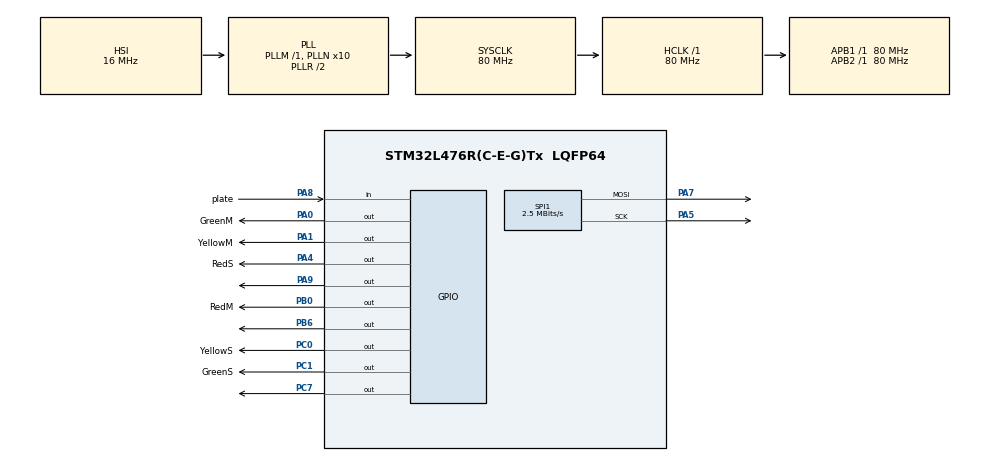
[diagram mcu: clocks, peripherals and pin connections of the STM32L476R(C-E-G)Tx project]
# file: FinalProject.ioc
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Mcu.Family=STM32L4
Mcu.Name=STM32L476R(C-E-G)Tx
Mcu.Package=LQFP64
NVIC.PriorityGroup=NVIC_PRIORITYGROUP_4
NVIC.TIM1_UP_TIM16_IRQn=true\:0\:0\:false\:false\:true\:true\:true\:true
PA0.GPIO_Label=GreenM
PA0.Signal=GPIO_Output
PA1.GPIO_Label=YellowM
PA1.Signal=GPIO_Output
PA13\ (JTMS-SWDIO).GPIO_Label=TMS
PA13\ (JTMS-SWDIO).Mode=Serial_Wire
PA13\ (JTMS-SWDIO).Signal=SYS_JTMS-SWDIO
PA14\ (JTCK-SWCLK).GPIO_Label=TCK
PA14\ (JTCK-SWCLK).Mode=Serial_Wire
PA14\ (JTCK-SWCLK).Signal=SYS_JTCK-SWCLK
PA4.GPIO_Label=RedS
PA4.Signal=GPIO_Output
PA5.Mode=TX_Only_Simplex_Unidirect_Master
PA5.Signal=SPI1_SCK
PA7.Mode=TX_Only_Simplex_Unidirect_Master
PA7.Signal=SPI1_MOSI
PA8.GPIO_Label=plate
PA8.GPIO_PuPd=GPIO_PULLUP
PA8.Signal=GPIO_Input
PA9.Signal=GPIO_Output
PB0.GPIO_Label=RedM
PB0.Signal=GPIO_Output
PB3\ (JTDO-TRACESWO).GPIO_Label=SWO
PB3\ (JTDO-TRACESWO).Signal=SYS_JTDO-SWO
PB6.Signal=GPIO_Output
PC0.GPIO_Label=YellowS
PC0.Signal=GPIO_Output
PC1.GPIO_Label=GreenS
PC1.Signal=GPIO_Output
PC14-OSC32_IN\ (PC14).Mode=LSE-External-Oscillator
PC14-OSC32_IN\ (PC14).Signal=RCC_OSC32_IN
PC15-OSC32_OUT\ (PC15).Mode=LSE-External-Oscillator
PC15-OSC32_OUT\ (PC15).Signal=RCC_OSC32_OUT
PC7.Signal=GPIO_Output
PH0-OSC_IN\ (PH0).Signal=RCC_OSC_IN
PH1-OSC_OUT\ (PH1).Signal=RCC_OSC_OUT
ProjectManager.HeapSize=0x200
ProjectManager.StackSize=0x400
ProjectManager.TargetToolchain=STM32CubeIDE
RCC.ADCFreq_Value=64000000
RCC.AHBFreq_Value=80000000
RCC.APB1Freq_Value=80000000
RCC.APB1TimFreq_Value=80000000
RCC.APB2Freq_Value=80000000
RCC.APB2TimFreq_Value=80000000
RCC.CortexFreq_Value=80000000
RCC.HCLKFreq_Value=80000000
RCC.HSE_VALUE=8000000
RCC.HSI_VALUE=16000000
RCC.MSI_VALUE=4000000
RCC.PLLN=10
RCC.PLLSourceVirtual=RCC_PLLSOURCE_HSI
RCC.PREFETCH_ENABLE=1
RCC.SYSCLKFreq_VALUE=80000000
RCC.SYSCLKSource=RCC_SYSCLKSOURCE_PLLCLK
RCC.USBFreq_Value=64000000
RCC.VCOOutputFreq_Value=160000000
SPI1.BaudRatePrescaler=SPI_BAUDRATEPRESCALER_32
SPI1.CalculateBaudRate=2.5 MBits/s
SPI1.DataSize=SPI_DATASIZE_8BIT
SPI1.Direction=SPI_DIRECTION_2LINES
SPI1.Mode=SPI_MODE_MASTER
SPI1.VirtualType=VM_MASTER
TIM16.Period=9999
TIM16.Prescaler=7999
VP_TIM16_VS_ClockSourceINT.Mode=Enable_Timer
board=NUCLEO-L476RG

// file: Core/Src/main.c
/* USER CODE BEGIN Header */
/**
  ******************************************************************************
  * @file           : main.c
  * @brief          : Main program body
  ******************************************************************************
  * @attention
  *
  * Copyright (c) 2025 STMicroelectronics.
  * All rights reserved.
  *
  * This software is licensed under terms that can be found in the LICENSE file
  * in the root directory of this software component.
  * If no LICENSE file comes with this software, it is provided AS-IS.
  *
  ******************************************************************************
  */
/* USER CODE END Header */
#include "main.h"

/* USER CODE BEGIN PM */
#define CE_PORT GPIOB // PB6 chip enable (aka slave select)
#define CE_PIN GPIO_PIN_6

#define DC_PORT GPIOC // PA0 data/control
#define DC_PIN GPIO_PIN_7

#define RESET_PORT GPIOA // PA1 reset
#define RESET_PIN GPIO_PIN_9

#define GLCD_WIDTH 84
#define GLCD_HEIGHT 48
#define NUM_BANKS 6
/* USER CODE END PM */

SPI_HandleTypeDef hspi1;

TIM_HandleTypeDef htim16;

/* USER CODE BEGIN PV */
int time;
const char font_table_other[][6] = {
		{0x00, 0x00, 0x00, 0x00, 0x00, 0x00}, // blank
		{0xFF, 0xFF, 0xFF, 0xFF, 0xFF, 0xFF}, // block
};
// number design 0-9
const char numbers[][6][6] = {
		{ // 0
				{0,1,1,1,0,0},
				{1,0,0,0,1,0},
				{1,0,0,0,1,0},
				{1,0,0,0,1,0},
				{1,0,0,0,1,0},
				{0,1,1,1,0,0}
		},
		{ // 1
				{0,0,1,0,0,0},
				{0,1,1,0,0,0},
				{0,0,1,0,0,0},
				{0,0,1,0,0,0},
				{0,0,1,0,0,0},
				{1,1,1,1,1,0}
		},
		{ // 2
				{0,1,1,1,0,0},
				{1,0,0,0,1,0},
				{0,0,0,1,0,0},
				{0,0,1,0,0,0},
				{0,1,0,0,0,0},
				{1,1,1,1,1,0},
		},
		{ // 3
				{0,1,1,1,0,0},
				{1,0,0,0,1,0},
				{0,0,0,0,1,0},
				{0,0,1,1,1,0},
				{1,0,0,0,1,0},
				{0,1,1,1,0,0},
		},
		{ // 4
				{0,0,0,1,0,0},
				{0,0,1,1,0,0},
				{0,1,0,1,0,0},
				{1,1,1,1,1,0},
				{0,0,0,1,0,0},
				{0,0,0,1,0,0},
		},
		{ // 5
				{1,1,1,1,1,0},
				{1,0,0,0,0,0},
				{1,1,1,1,0,0},
				{0,0,0,0,1,0},
				{1,0,0,0,1,0},
				{0,1,1,1,0,0},
		},
		{ // 6
				{0,1,1,1,0,0},
				{1,0,0,0,1,0},
				{1,0,0,0,0,0},
				{1,1,1,1,0,0},
				{1,0,0,0,1,0},
				{0,1,1,1,0,0},
		},
		{ // 7
				{1,1,1,1,1,0},
				{0,0,0,0,1,0},
				{0,0,0,1,0,0},
				{0,0,1,0,0,0},
				{0,1,0,0,0,0},
				{1,0,0,0,0,0},
		},
		{ // 8
				{0,1,1,1,0,0},
				{1,0,0,0,1,0},
				{0,1,1,1,0,0},
				{1,0,0,0,1,0},
				{1,0,0,0,1,0},
				{0,1,1,1,0,0},
		},
		{ // 9
				{0,1,1,1,1,0},
				{1,0,0,0,1,0},
				{1,0,0,0,1,0},
				{0,1,1,1,1,0},
				{0,0,0,0,1,0},
				{0,0,0,0,1,0},
		},

};
int ten = 1;
int one = 1;
int change = 0;
/* USER CODE END PV */

void SystemClock_Config(void);
static void MX_GPIO_Init(void);
static void MX_TIM16_Init(void);
static void MX_SPI1_Init(void);
/* USER CODE BEGIN PFP */
void StopLightState(char time);
void SPI_write(unsigned char data);
void GLCD_data_write(unsigned char data);
void GLCD_command_write(unsigned char data);
void GLCD_init(void);
void GLCD_setCursor(unsigned char x, unsigned char y);
void GLCD_clear(void);
void GLCD_putchar(int font_table_row);
void GLCD_putblock(int font_table_row);
void GLCD_writeNumberLeft(int num);
void GLCD_writeNumberRight(int num);
/* USER CODE END PFP */

int main(void)
{

  /* MCU Configuration--------------------------------------------------------*/

  /* Reset of all peripherals, Initializes the Flash interface and the Systick. */
  HAL_Init();

  /* Configure the system clock */
  SystemClock_Config();

  /* Initialize all configured peripherals */
  MX_GPIO_Init();
  MX_TIM16_Init();
  MX_SPI1_Init();
  /* USER CODE BEGIN 2 */
  GLCD_init(); // initialize the screen
  GLCD_clear(); // clear the screen
  HAL_TIM_Base_Start_IT(&htim16); // Start Timer 16

  	HAL_GPIO_WritePin(GreenM_GPIO_Port, GreenM_Pin, GPIO_PIN_SET);
	HAL_GPIO_WritePin(YellowM_GPIO_Port, YellowM_Pin, GPIO_PIN_RESET);
	HAL_GPIO_WritePin(RedM_GPIO_Port, RedM_Pin, GPIO_PIN_RESET);

	HAL_GPIO_WritePin(GreenS_GPIO_Port, GreenS_Pin, GPIO_PIN_RESET);
	HAL_GPIO_WritePin(YellowS_GPIO_Port, YellowS_Pin, GPIO_PIN_RESET);
	HAL_GPIO_WritePin(RedS_GPIO_Port, RedS_Pin, GPIO_PIN_SET);

  /* USER CODE END 2 */

  /* Infinite loop */
  while (1)
  {

  }
}

void SystemClock_Config(void)
{
  RCC_OscInitTypeDef RCC_OscInitStruct = {0};
  RCC_ClkInitTypeDef RCC_ClkInitStruct = {0};

  /** Configure the main internal regulator output voltage
  */
  if (HAL_PWREx_ControlVoltageScaling(PWR_REGULATOR_VOLTAGE_SCALE1) != HAL_OK)
  {
    Error_Handler();
  }

  /** Initializes the RCC Oscillators according to the specified parameters
  * in the RCC_OscInitTypeDef structure.
  */
  RCC_OscInitStruct.OscillatorType = RCC_OSCILLATORTYPE_HSI;
  RCC_OscInitStruct.HSIState = RCC_HSI_ON;
  RCC_OscInitStruct.HSICalibrationValue = RCC_HSICALIBRATION_DEFAULT;
  RCC_OscInitStruct.PLL.PLLState = RCC_PLL_ON;
  RCC_OscInitStruct.PLL.PLLSource = RCC_PLLSOURCE_HSI;
  RCC_OscInitStruct.PLL.PLLM = 1;
  RCC_OscInitStruct.PLL.PLLN = 10;
  RCC_OscInitStruct.PLL.PLLP = RCC_PLLP_DIV7;
  RCC_OscInitStruct.PLL.PLLQ = RCC_PLLQ_DIV2;
  RCC_OscInitStruct.PLL.PLLR = RCC_PLLR_DIV2;
  if (HAL_RCC_OscConfig(&RCC_OscInitStruct) != HAL_OK)
  {
    Error_Handler();
  }

  /** Initializes the CPU, AHB and APB buses clocks
  */
  RCC_ClkInitStruct.ClockType = RCC_CLOCKTYPE_HCLK|RCC_CLOCKTYPE_SYSCLK
                              |RCC_CLOCKTYPE_PCLK1|RCC_CLOCKTYPE_PCLK2;
  RCC_ClkInitStruct.SYSCLKSource = RCC_SYSCLKSOURCE_PLLCLK;
  RCC_ClkInitStruct.AHBCLKDivider = RCC_SYSCLK_DIV1;
  RCC_ClkInitStruct.APB1CLKDivider = RCC_HCLK_DIV1;
  RCC_ClkInitStruct.APB2CLKDivider = RCC_HCLK_DIV1;

  if (HAL_RCC_ClockConfig(&RCC_ClkInitStruct, FLASH_LATENCY_4) != HAL_OK)
  {
    Error_Handler();
  }
}

static void MX_SPI1_Init(void)
{

  /* SPI1 parameter configuration*/
  hspi1.Instance = SPI1;
  hspi1.Init.Mode = SPI_MODE_MASTER;
  hspi1.Init.Direction = SPI_DIRECTION_2LINES;
  hspi1.Init.DataSize = SPI_DATASIZE_8BIT;
  hspi1.Init.CLKPolarity = SPI_POLARITY_LOW;
  hspi1.Init.CLKPhase = SPI_PHASE_1EDGE;
  hspi1.Init.NSS = SPI_NSS_SOFT;
  hspi1.Init.BaudRatePrescaler = SPI_BAUDRATEPRESCALER_32;
  hspi1.Init.FirstBit = SPI_FIRSTBIT_MSB;
  hspi1.Init.TIMode = SPI_TIMODE_DISABLE;
  hspi1.Init.CRCCalculation = SPI_CRCCALCULATION_DISABLE;
  hspi1.Init.CRCPolynomial = 7;
  hspi1.Init.CRCLength = SPI_CRC_LENGTH_DATASIZE;
  hspi1.Init.NSSPMode = SPI_NSS_PULSE_ENABLE;
  if (HAL_SPI_Init(&hspi1) != HAL_OK)
  {
    Error_Handler();
  }

}

static void MX_TIM16_Init(void)
{

  htim16.Instance = TIM16;
  htim16.Init.Prescaler = 7999;
  htim16.Init.CounterMode = TIM_COUNTERMODE_UP;
  htim16.Init.Period = 9999;
  htim16.Init.ClockDivision = TIM_CLOCKDIVISION_DIV1;
  htim16.Init.RepetitionCounter = 0;
  htim16.Init.AutoReloadPreload = TIM_AUTORELOAD_PRELOAD_DISABLE;
  if (HAL_TIM_Base_Init(&htim16) != HAL_OK)
  {
    Error_Handler();
  }

}

static void MX_GPIO_Init(void)
{
  GPIO_InitTypeDef GPIO_InitStruct = {0};

  /* GPIO Ports Clock Enable */
  __HAL_RCC_GPIOC_CLK_ENABLE();
  __HAL_RCC_GPIOH_CLK_ENABLE();
  __HAL_RCC_GPIOA_CLK_ENABLE();
  __HAL_RCC_GPIOB_CLK_ENABLE();

  /*Configure GPIO pin Output Level */
  HAL_GPIO_WritePin(GPIOC, YellowS_Pin|GreenS_Pin|GPIO_PIN_7, GPIO_PIN_RESET);

  /*Configure GPIO pin Output Level */
  HAL_GPIO_WritePin(GPIOA, GreenM_Pin|YellowM_Pin|RedS_Pin|GPIO_PIN_9, GPIO_PIN_RESET);

  /*Configure GPIO pin Output Level */
  HAL_GPIO_WritePin(GPIOB, RedM_Pin|GPIO_PIN_6, GPIO_PIN_RESET);

  /*Configure GPIO pins : YellowS_Pin GreenS_Pin PC7 */
  GPIO_InitStruct.Pin = YellowS_Pin|GreenS_Pin|GPIO_PIN_7;
  GPIO_InitStruct.Mode = GPIO_MODE_OUTPUT_PP;
  GPIO_InitStruct.Pull = GPIO_NOPULL;
  GPIO_InitStruct.Speed = GPIO_SPEED_FREQ_LOW;
  HAL_GPIO_Init(GPIOC, &GPIO_InitStruct);

  /*Configure GPIO pins : GreenM_Pin YellowM_Pin RedS_Pin PA9 */
  GPIO_InitStruct.Pin = GreenM_Pin|YellowM_Pin|RedS_Pin|GPIO_PIN_9;
  GPIO_InitStruct.Mode = GPIO_MODE_OUTPUT_PP;
  GPIO_InitStruct.Pull = GPIO_NOPULL;
  GPIO_InitStruct.Speed = GPIO_SPEED_FREQ_LOW;
  HAL_GPIO_Init(GPIOA, &GPIO_InitStruct);

  /*Configure GPIO pins : RedM_Pin PB6 */
  GPIO_InitStruct.Pin = RedM_Pin|GPIO_PIN_6;
  GPIO_InitStruct.Mode = GPIO_MODE_OUTPUT_PP;
  GPIO_InitStruct.Pull = GPIO_NOPULL;
  GPIO_InitStruct.Speed = GPIO_SPEED_FREQ_LOW;
  HAL_GPIO_Init(GPIOB, &GPIO_InitStruct);

  /*Configure GPIO pin : plate_Pin */
  GPIO_InitStruct.Pin = plate_Pin;
  GPIO_InitStruct.Mode = GPIO_MODE_INPUT;
  GPIO_InitStruct.Pull = GPIO_PULLUP;
  HAL_GPIO_Init(plate_GPIO_Port, &GPIO_InitStruct);

}

/* USER CODE BEGIN 4 */
// interrupt for the timer
void HAL_TIM_PeriodElapsedCallback(TIM_HandleTypeDef *htim){
	if (htim == &htim16){
		// checks it one of the buttons has been pressed
		if (time > 5 & HAL_GPIO_ReadPin(GPIOA, plate_Pin) == 0 & change == 0){
			time = 0;
			change = 1;
		}
		// Starts the to cycle the lights after one of the buttons has been pressed
		if (time > 21 & change == 1){
			time = 0;
			change = 0;
			StopLightState(0);
		}
	}
	// Progresses the number on the timer.
	if (change == 1){
		StopLightState(time);

		GLCD_writeNumberLeft(ten);
		GLCD_writeNumberRight(one);
		if (ten == 0 & one == 0){
		}
		else if (one == 0){
			  ten = ten -1;
			  one = 9;
		}
		else {
			  one = one - 1;
		}
	}
	time = time + 1;
}

void SPI_write(unsigned char data){

	// Chip Enable (low is asserted)
	HAL_GPIO_WritePin(CE_PORT, CE_PIN, GPIO_PIN_RESET);

	// Send data over SPI1
	HAL_SPI_Transmit(&hspi1, (uint8_t*) &data, 1, HAL_MAX_DELAY);

	// Chip Disable
	HAL_GPIO_WritePin(CE_PORT, CE_PIN, GPIO_PIN_SET);
}

void GLCD_data_write(unsigned char data){

	// Switch to "data" mode (D/C pin high)
	HAL_GPIO_WritePin(DC_PORT, DC_PIN, GPIO_PIN_SET);

	// Send data over SPI
	SPI_write(data);

}

void GLCD_command_write(unsigned char data){

	// Switch to "command" mode (D/C pin low)
	HAL_GPIO_WritePin(DC_PORT, DC_PIN, GPIO_PIN_RESET);

	// Send data over SPI
	SPI_write(data);
}

void GLCD_init(void){

	// Keep CE high when not transmitting
	HAL_GPIO_WritePin(CE_PORT, CE_PIN, GPIO_PIN_SET);

	// Reset the screen (low pulse - down & up)
	HAL_GPIO_WritePin(RESET_PORT, RESET_PIN, GPIO_PIN_RESET);
	HAL_GPIO_WritePin(RESET_PORT, RESET_PIN, GPIO_PIN_SET);

	// Configure the screen (according to the datasheet)
	GLCD_command_write(0x21); // enter extended command mode
	GLCD_command_write(0xA0); // set LCD Vop for contrast (this may be adjusted)
	GLCD_command_write(0x04); // set temp coefficient
	GLCD_command_write(0x11); // set LCD bias mode (this may be adjusted)
	GLCD_command_write(0x20); // return to normal command mode
	GLCD_command_write(0x0C); // set display mode normal
}
//  Sets the location of the cursor to a given x and y coordinate
void GLCD_setCursor(unsigned char x, unsigned char y){

	GLCD_command_write(0x80 | x); // column
	GLCD_command_write(0x40 | y); // bank
}
//  Sets all of the pixels on the screen to off clearing the screen.
void GLCD_clear(void){

	int i;
	for(i = 0; i < (GLCD_WIDTH * NUM_BANKS); i++){
		GLCD_data_write(0x00); // write zeros
	}
	GLCD_setCursor(0,0); // return cursor to top left
}
// fills an entire bank or leaves it empty.
void GLCD_putblock(int font_table_row){
	int i;
	for (i=0; i<6; i++){
		GLCD_data_write(font_table_other[font_table_row][i]);
	}
}
// Writes to the left of the screen starting at coordinates 0,0
void GLCD_writeNumberLeft(int num){
	int i;
	int i2;

	for (i=0; i<6; i++){
		GLCD_setCursor(0,(9*i)); // keeps the cursor on the left side of the screen
		for (i2=0; i2<6; i2++){

			// determines whether to fill bank with a block or a blank
			if ((numbers[num][i][i2]) == 1){
				GLCD_putblock(1); // fills bank with a block
			}
			else {
				GLCD_putblock(0); // fills bank with a blank
			}
		}
	}
}
// Whites to the Right of the creen starting at coordinates 36, 0
void GLCD_writeNumberRight(int num){
	int i;
	int i2;

	for (i=0; i<6; i++){
		GLCD_setCursor(36,(9*i)); // keeps the cursor on the right side of the screen
		for (i2=0; i2<6; i2++){

			// determines whether to fill bank with a block or a blank
			if ((numbers[num][i][i2]) == 1){
				GLCD_putblock(1); // fills bank with a block
			}
			else {
				GLCD_putblock(0); // fills bank with a blank
			}
		}
	}
}
// State machine for the stop light changes.
void StopLightState(char time){
	switch (time){

	case 0x0: // Main on green, Side on red
		HAL_GPIO_WritePin(GreenM_GPIO_Port, GreenM_Pin, GPIO_PIN_SET);
		HAL_GPIO_WritePin(YellowM_GPIO_Port, YellowM_Pin, GPIO_PIN_RESET);
		HAL_GPIO_WritePin(RedM_GPIO_Port, RedM_Pin, GPIO_PIN_RESET);

		HAL_GPIO_WritePin(GreenS_GPIO_Port, GreenS_Pin, GPIO_PIN_RESET);
		HAL_GPIO_WritePin(YellowS_GPIO_Port, YellowS_Pin, GPIO_PIN_RESET);
		HAL_GPIO_WritePin(RedS_GPIO_Port, RedS_Pin, GPIO_PIN_SET);
		ten = 1;
		one = 1;
		break;

	case 0x7: // Main on yellow, Side on red
		HAL_GPIO_WritePin(GreenM_GPIO_Port, GreenM_Pin, GPIO_PIN_RESET);
		HAL_GPIO_WritePin(YellowM_GPIO_Port, YellowM_Pin, GPIO_PIN_SET);
		HAL_GPIO_WritePin(RedM_GPIO_Port, RedM_Pin, GPIO_PIN_RESET);

		HAL_GPIO_WritePin(GreenS_GPIO_Port, GreenS_Pin, GPIO_PIN_RESET);
		HAL_GPIO_WritePin(YellowS_GPIO_Port, YellowS_Pin, GPIO_PIN_RESET);
		HAL_GPIO_WritePin(RedS_GPIO_Port, RedS_Pin, GPIO_PIN_SET);
		break;

	case 0x0A: // Main on red, Side on red
		HAL_GPIO_WritePin(GreenM_GPIO_Port, GreenM_Pin, GPIO_PIN_RESET);
		HAL_GPIO_WritePin(YellowM_GPIO_Port, YellowM_Pin, GPIO_PIN_RESET);
		HAL_GPIO_WritePin(RedM_GPIO_Port, RedM_Pin, GPIO_PIN_SET);

		HAL_GPIO_WritePin(GreenS_GPIO_Port, GreenS_Pin, GPIO_PIN_RESET);
		HAL_GPIO_WritePin(YellowS_GPIO_Port, YellowS_Pin, GPIO_PIN_RESET);
		HAL_GPIO_WritePin(RedS_GPIO_Port, RedS_Pin, GPIO_PIN_SET);
		break;

	case 0x0B: // Main on red, Side on green
		HAL_GPIO_WritePin(GreenM_GPIO_Port, GreenM_Pin, GPIO_PIN_RESET);
		HAL_GPIO_WritePin(YellowM_GPIO_Port, YellowM_Pin, GPIO_PIN_RESET);
		HAL_GPIO_WritePin(RedM_GPIO_Port, RedM_Pin, GPIO_PIN_SET);

		HAL_GPIO_WritePin(GreenS_GPIO_Port, GreenS_Pin, GPIO_PIN_SET);
		HAL_GPIO_WritePin(YellowS_GPIO_Port, YellowS_Pin, GPIO_PIN_RESET);
		HAL_GPIO_WritePin(RedS_GPIO_Port, RedS_Pin, GPIO_PIN_RESET);
		break;

	case 0x12: // Main on red, Side on yellow
		HAL_GPIO_WritePin(GreenM_GPIO_Port, GreenM_Pin, GPIO_PIN_RESET);
		HAL_GPIO_WritePin(YellowM_GPIO_Port, YellowM_Pin, GPIO_PIN_RESET);
		HAL_GPIO_WritePin(RedM_GPIO_Port, RedM_Pin, GPIO_PIN_SET);

		HAL_GPIO_WritePin(GreenS_GPIO_Port, GreenS_Pin, GPIO_PIN_RESET);
		HAL_GPIO_WritePin(YellowS_GPIO_Port, YellowS_Pin, GPIO_PIN_SET);
		HAL_GPIO_WritePin(RedS_GPIO_Port, RedS_Pin, GPIO_PIN_RESET);
		break;

	case 0x15: // Main on red, Side on red
		HAL_GPIO_WritePin(GreenM_GPIO_Port, GreenM_Pin, GPIO_PIN_RESET);
		HAL_GPIO_WritePin(YellowM_GPIO_Port, YellowM_Pin, GPIO_PIN_RESET);
		HAL_GPIO_WritePin(RedM_GPIO_Port, RedM_Pin, GPIO_PIN_SET);

		HAL_GPIO_WritePin(GreenS_GPIO_Port, GreenS_Pin, GPIO_PIN_RESET);
		HAL_GPIO_WritePin(YellowS_GPIO_Port, YellowS_Pin, GPIO_PIN_RESET);
		HAL_GPIO_WritePin(RedS_GPIO_Port, RedS_Pin, GPIO_PIN_SET);
		break;

}
}
/* USER CODE END 4 */

void Error_Handler(void)
{
  __disable_irq();
  while (1)
  {
  }
}
